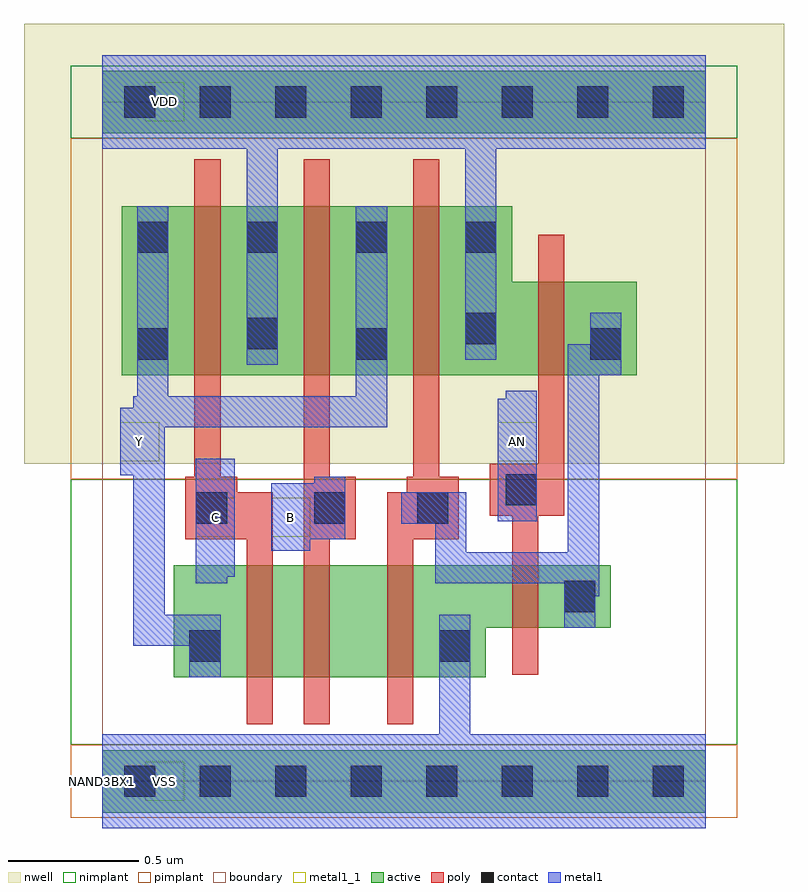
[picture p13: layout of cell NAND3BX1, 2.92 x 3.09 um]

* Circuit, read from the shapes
.subckt NAND3BX1 AN B C VDD VSS Y
M1 n1 C Y VSS nfet w=0.43u l=0.1u
M2 n2 B n1 VSS nfet w=0.43u l=0.1u
M3 VSS n3 n2 VSS nfet w=0.43u l=0.1u
M4 n3 AN VSS VSS nfet w=0.24u l=0.1u
M5 VDD C Y VDD pfet w=0.65u l=0.1u
M6 Y B VDD VDD pfet w=0.65u l=0.1u
M7 VDD n3 Y VDD pfet w=0.65u l=0.1u
M8 n3 AN VDD VDD pfet w=0.36u l=0.1u
.ends

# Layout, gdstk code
import gdstk
lib = gdstk.Library(unit=1e-6, precision=5e-10)
def R(c, l, rs):  # rectangles x0, y0, x1, y1
    for r in rs: c.add(gdstk.rectangle(r[:2], r[2:], *l))
def A(c, l, x, y, w, h, nx, ny, dx, dy):  # array of equal rectangles
    R(c, l, [(x+i*dx, y+j*dy, x+i*dx+w, y+j*dy+h) for i in range(nx) for j in range(ny)])
active = (1, 0)
nwell = (2, 0)
poly = (3, 0)
nimplant = (4, 0)
pimplant = (5, 0)
contact = (6, 0)
metal1 = (7, 0)
metal1_1 = (7, 1)
boundary = (62, 0)

nand3bx1 = lib.new_cell('NAND3BX1')
R(nand3bx1, active, [(0,-0.12,2.32,0.12), (0.275,0.4,1.475,0.59), (0.275,0.59,1.955,0.83), (0.075,1.56,2.055,1.92), (0.075,1.92,1.575,2.21), (0,2.49,2.32,2.73)])
R(nand3bx1, nwell, [(-0.3,1.22,2.62,2.91)])
A(nand3bx1, poly, 0.355, 1.17, 0.1, 1.22, 3, 1, 0.42, 0)
R(nand3bx1, poly, [(0.555,0.22,0.655,0.93), (0.775,0.22,0.875,0.93), (1.095,0.22,1.195,0.93), (1.575,0.41,1.675,1.02), (0.32,0.93,0.655,1.11), (0.775,0.93,0.975,1.17), (1.095,0.93,1.37,1.11), (1.49,1.02,1.775,1.22), (0.32,1.11,0.52,1.17), (1.17,1.11,1.37,1.17), (1.675,1.22,1.775,2.1)])
R(nand3bx1, nimplant, [(-0.12,0.14,2.44,1.16), (-0.12,2.47,2.44,2.75)])
R(nand3bx1, pimplant, [(-0.12,-0.14,2.44,0.14), (-0.12,1.16,2.44,2.47)])
A(nand3bx1, contact, 0.085, -0.06, 0.12, 0.12, 8, 2, 0.29, 2.61)
A(nand3bx1, contact, 0.135, 2.03, 0.12, 0.12, 4, 1, 0.42, 0)
R(nand3bx1, contact, [(0.335,0.46,0.455,0.58), (1.295,0.46,1.415,0.58), (1.775,0.65,1.895,0.77), (0.36,0.99,0.48,1.11), (0.815,0.99,0.935,1.11), (1.21,0.99,1.33,1.11), (1.55,1.06,1.67,1.18), (0.135,1.62,0.255,1.74), (0.975,1.62,1.095,1.74), (1.875,1.62,1.995,1.74), (0.555,1.66,0.675,1.78), (1.395,1.68,1.515,1.8)])
R(nand3bx1, metal1, [(0,-0.18,2.32,0.18), (1.295,0.18,1.415,0.64), (0.335,0.4,0.455,0.52), (0.12,0.52,0.455,0.64), (1.775,0.59,1.895,0.71), (0.12,0.64,0.24,1.175), (1.775,0.71,1.91,0.76), (0.36,0.76,0.48,0.785), (1.28,0.76,1.91,0.88), (0.36,0.785,0.51,1.24), (1.28,0.88,1.4,0.99), (1.79,0.88,1.91,1.56), (0.65,0.885,0.8,0.93), (0.65,0.93,0.935,1.145), (1.15,0.99,1.4,1.11), (1.52,1,1.67,1.47), (0.815,1.145,0.935,1.17), (0.07,1.175,0.24,1.36), (0.07,1.36,1.095,1.435), (0.12,1.435,1.095,1.48), (1.55,1.47,1.67,1.5), (0.135,1.48,0.255,2.21), (0.975,1.48,1.095,2.21), (1.79,1.56,1.995,1.68), (0.555,1.6,0.675,2.43), (1.395,1.62,1.515,2.43), (1.875,1.68,1.995,1.8), (0,2.43,2.32,2.79)])
R(nand3bx1, metal1_1, [(0.165,-0.075,0.315,0.075), (0.36,0.94,0.51,1.09), (0.65,0.94,0.8,1.09), (0.07,1.23,0.22,1.38), (1.52,1.23,1.67,1.38), (0.165,2.535,0.315,2.685)])
R(nand3bx1, boundary, [(0,0,2.32,2.61)])
nand3bx1.add(gdstk.Label('NAND3BX1', (0,0), layer=63, texttype=0))
nand3bx1.add(gdstk.Label('VSS', (0.24,0), layer=7, texttype=3))
nand3bx1.add(gdstk.Label('VDD', (0.24,2.61), layer=7, texttype=3))
nand3bx1.add(gdstk.Label('C', (0.435,1.015), layer=7, texttype=3))
nand3bx1.add(gdstk.Label('B', (0.725,1.015), layer=7, texttype=3))
nand3bx1.add(gdstk.Label('AN', (1.595,1.305), layer=7, texttype=3))
nand3bx1.add(gdstk.Label('Y', (0.145,1.305), layer=7, texttype=3))

lib.write_gds('NAND3BX1.gds')
